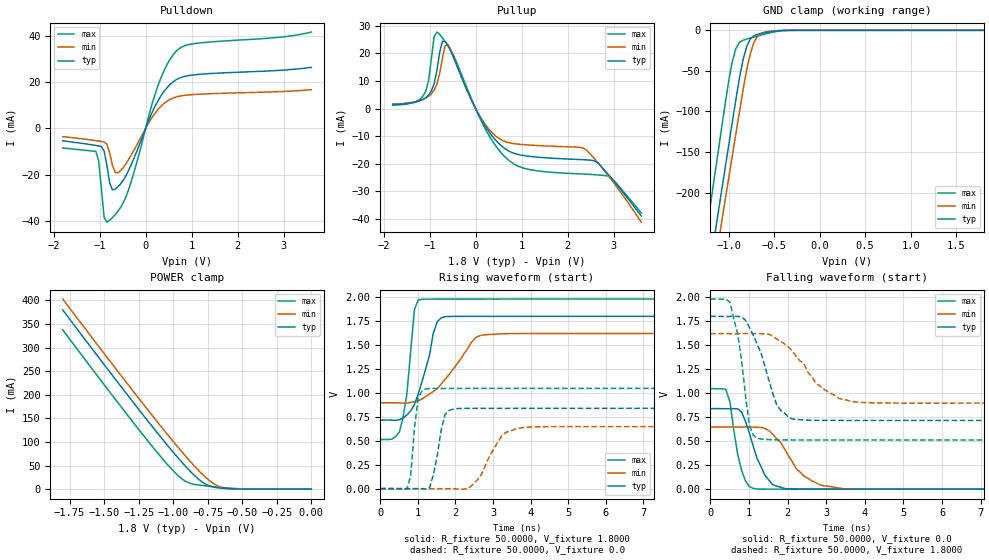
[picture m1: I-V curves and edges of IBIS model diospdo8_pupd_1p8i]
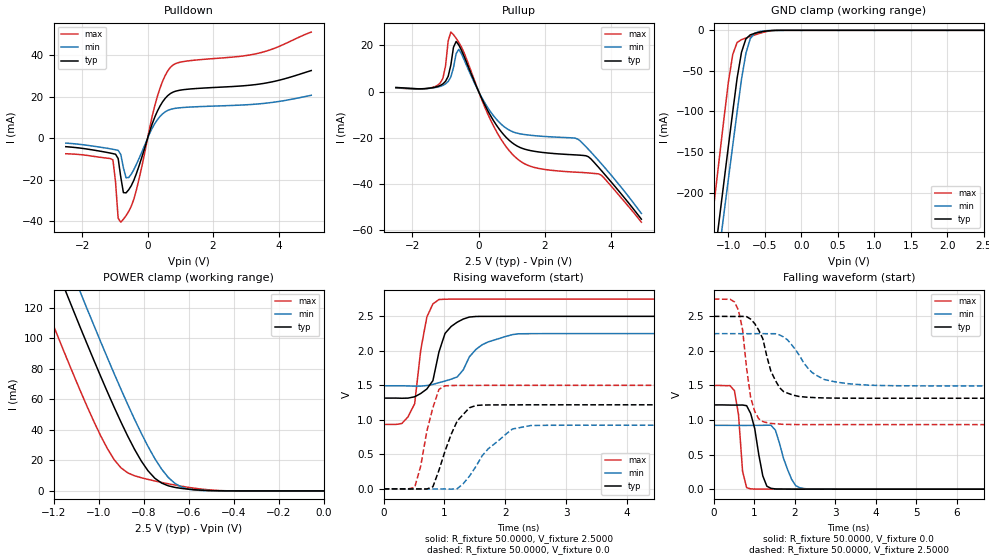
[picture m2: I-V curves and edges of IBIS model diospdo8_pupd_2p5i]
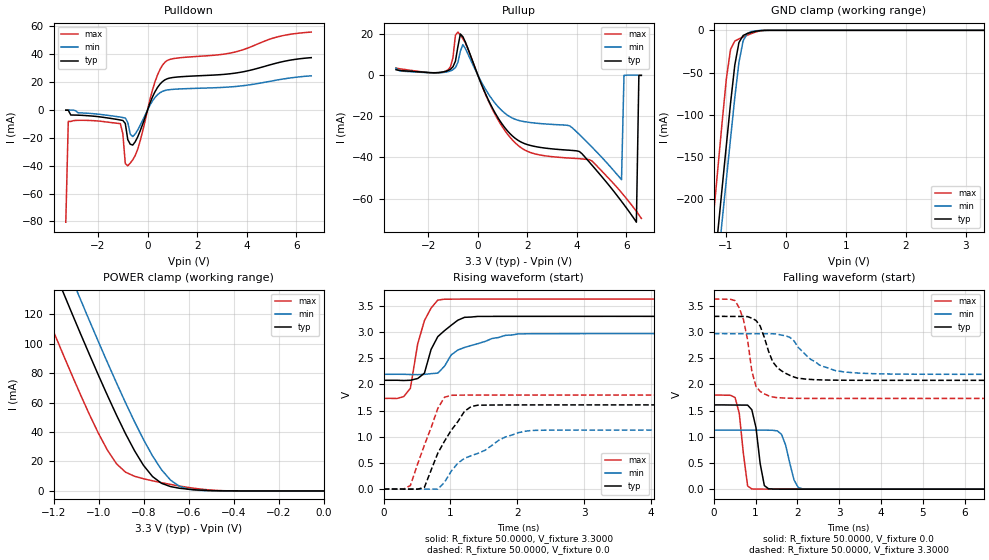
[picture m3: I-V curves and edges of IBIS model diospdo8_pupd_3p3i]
| SMSC
| 80 Arkay Drive
| Hauppauge,NY 11788
[IBIS Ver]   4.0
[Comment char]  |_char
[File name]   usb3320_rev2p0.ibs
[File Rev]   2.0
[Date]   10-DEC-2009
[Source]
[Notes] created by SMSC
[Disclaimer]
 SMSC herby grants
 the user of this IBIS model a non-exclusive,
 nontransferrable license to use this IBIS model
 under the following terms. Before using this
 IBIS model, the user should read this license.
 If the user does not accept these terms. the
 IBIS model should be returned to SMSC within 30
 days.
 The user is granted this license only to use
 the IBIS model and is not granted rights to
 sell, load, rent, lease or license the IBIS
 model in whole or in part, or in modified form
 to anyone other than user. User may modify the
 IBIS model to suit its specific applications
 but rights to derivative works and such
 modifications shall belong to SMSC.
 The IBIS model is provided on an "AS IS" basis
 and SMSC makes no warranty with respect to the
 information contained herein. SMSC DISCLAIMS
 AND CUSTOMER WAIVES ALL WARRANTIES, EXPRESS OR
 IMPLIED, INCLUDING WARRANTIES OF MERCHANTABILITY
 OR FITNESS FOR A PARTICULAR PURPOSE. The entire
 risk as to quality and performance is with the
 Customer. ACCORDINGLY, IN NO EVENT SHALL THE
 COMPANY BE LIABLE FOR ANY DAMAGE, WHETHER IN
 CONTRACT OR TORT, INCLUDING ANY LOST PROFITS
 OR OTHER INCIDENTAL, CONSEQUENTIAL, EXEMPLARY,
 OR PUNITIVE DAMAGES ARISING OUT OF THE USE OR
 APPLICATION OF THE IBIS model provided in this
 package. Further, SMSC reserves the right to
 make changes without notice to any product
 herein to improve reliability, function, or
 design. SMSC does not convey any license under
 patent rights or any other intellectual
 property rights, including those of third
 parties.
 SMSC is not obligated to provide maintaince
 or support for the licensed IBIS model.
[Copyright] (C) Copyright 2009, Standard Microsystems Corporation,
   All Rights Reserved
[Component] usb3320
[Manufacturer] SMSC
| ----Package----
[Package]
| variable   typ   min   max
R_pkg   54.0m   45.0m   63.0m
L_pkg   1.03nH   0.92nH   1.15nH
C_pkg   0.25pF   0.24pF   0.26pF
| ----Pin----
[Pin] signal_name   model_name   R_pin   L_pin   C_pin
P1   CLKOUT   io8_vo
P2   NXT   io8_vo
P3   DATA0   io8_vo
P4   DATA1   io8_vo
P5   DATA2   io8_vo
P6   DATA3   io8_vo
P7   DATA4   io8_vo
P8   REFSEL0   NC
P9   DATA5   io8_vo
P10   DATA6   io8_vo
P11   REFSEL1   NC
P12   NC   NC
P13   DATA7   io8_vo
P14   REFSEL2   NC
P15   SPKR_L   NC
P16   SPKR_R   NC
P17   CPEN   NC
P18   DP   NC
P19   DM   NC
P20   VDD33   POWER
P21   VBAT   POWER
P22   VBUS   NC
P23   ID   NC
P24   RBIAS   NC
P25   XO   NC
P26   REFCLK   io8_vo
P27   RESETB   io8_vo
P28   VDD18   POWER
P29   STP   io8_vo
P30   VDD18   POWER
P31   DIR   io8_vo
P32   VDDIO   POWER
P33   GND   GND
| ----PinMap----
[Pin Mapping] pulldown_ref pullup_ref gnd_clamp_ref power_clamp_ref
P1   GND   VDDIO   GND   VDDIO
P2   GND   VDDIO   GND   VDDIO
P3   GND   VDDIO   GND   VDDIO
P4   GND   VDDIO   GND   VDDIO
P5   GND   VDDIO   GND   VDDIO
P6   GND   VDDIO   GND   VDDIO
P7   GND   VDDIO   GND   VDDIO
P8   NC   NC   NC   NC
P9   GND   VDDIO   GND   VDDIO
P10   GND   VDDIO   GND   VDDIO
P11   NC   NC   NC   NC
P12   NC   NC   NC   NC
P13   GND   VDDIO   GND   VDDIO
P14   NC   NC   NC   NC
P15   NC   NC   NC   NC
P16   NC   NC   NC   NC
P17   NC   NC   NC   NC
P18   NC   NC   NC   NC
P19   NC   NC   NC   NC
P20   NC   VDD33   NC   NC
P21   NC   VDD50   NC   NC
P22   NC   NC   NC   NC
P23   NC   NC   NC   NC
P24   NC   NC   NC   NC
P25   NC   NC   NC   NC
P26   GND   VDDIO   GND   VDDIO
P27   GND   VDDIO   GND   VDDIO
P28   NC   VDDIO   NC   NC
P29   GND   VDDIO   GND   VDDIO
P30   NC   VDDIO   NC   NC
P31   GND   VDDIO   GND   VDDIO
P32   NC   VDD33   NC   NC
P33   GND   NC   NC   NC
[Model Selector] io8_vo
diospdo8_pupd_1p8i  1.8V industrial temp I/O model
diospdo8_pupd_2p5i  2.5V industrial temp I/O model
diospdo8_pupd_3p3i  3.3V industrial temp I/O model
[Model Selector] io8_vo_cpen
diospdo8_pupd_3p3i  3.3V industrial temp I/O model
| Models and submodels in the file (3): diospdo8_pupd_1p8i (I/O), diospdo8_pupd_2p5i (I/O), diospdo8_pupd_3p3i (I/O)
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| ----Modeling----
[Model]  diospdo8_pupd_1p8i
Model_type I/O
Polarity   Non-Inverting
Enable   Active-Low
Vinl =   0.0V
Vinh =   1.8000V
Vmeas =  1.6500V
Vref =   0.0V
C_comp   1.3400pF   1.2300pF   1.3500pF
[Temperature Range]   42.0000   85.0000   -40.0000
[Voltage Range]   1.8000V   1.6200V   1.9800V
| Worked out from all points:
|   slope of the pulldown table from 0 to 0.27 V, typ, clamps not added: 22.5 ohm
|   slope of the pullup table from 0 to 0.27 V, typ, clamps not added: 34.3 ohm
|   GND clamp passes 1 mA (typ) near -0.49 V on its own axis
|   POWER clamp passes 1 mA (typ) near -0.59 V on its own axis
|   rising waveform, R_fixture 50.0000, V_fixture 1.8000: 20-80 % time 435ps typ, 840ps min, 235ps max; typ from 0.716 V to 1.8 V
|   rising waveform, R_fixture 50.0000, V_fixture 0.0: 20-80 % time 234ps typ, 525ps min, 149ps max; typ from 0 V to 0.839 V
|   falling waveform, R_fixture 50.0000, V_fixture 0.0: 20-80 % time 448ps typ, 718ps min, 269ps max; typ from 0.839 V to 0 V
|   falling waveform, R_fixture 50.0000, V_fixture 1.8000: 20-80 % time 537ps typ, 902ps min, 302ps max; typ from 1.8 V to 0.716 V
[Pulldown]
|Voltage   I(typ)   I(min)   I(max)
-1.8V     -5.347mA   -3.523mA   -8.392mA
-1.08V    -7.359mA   -5.279mA   -9.934mA
-1.02V    -7.568mA   -5.462mA   -14.06mA
-900mV    -9.786mA   -5.859mA   -38.52mA
-840mV    -15.99mA   -6.785mA   -40.62mA
-780mV    -23.64mA   -10.64mA   -39.78mA
-720mV    -26.58mA   -15.93mA   -38.62mA
-600mV    -25.28mA   -19.19mA   -35.84mA
-360mV    -17.79mA   -13.16mA   -25.99mA
300mV     13.04mA    8.927mA    20.2mA
660mV     21.07mA    13.66mA    33.41mA
3.6V      26.49mA    16.82mA    41.78mA
[Pullup]
|Voltage   I(typ)   I(min)   I(max)
-1.8V     1.426mA    1.627mA    1.223mA
-1.14V    3.335mA    3.3mA      4.552mA
-1.02V    4.911mA    4.385mA    10.3mA
-900mV    8.996mA    6.676mA    25.97mA
-840mV    13.72mA    8.899mA    27.7mA
-720mV    24.42mA    18.29mA    25.62mA
-600mV    22.75mA    23.24mA    22.81mA
60mV      -1.973mA   -1.822mA   -2.256mA
660mV     -14.78mA   -12.09mA   -17.87mA
2.34V     -18.55mA   -14.36mA   -23.73mA
2.94V     -25.05mA   -25.56mA   -25mA
3.6V      -38.96mA   -41.18mA   -37.88mA
[GND_clamp]
|Voltage   I(typ)   I(min)   I(max)
-1.8V     -730.5mA   -753.9mA   -685.9mA
-1.24V    -317.2mA   -352.6mA   -247.3mA
-1.16V    -258.8mA   -295.9mA   -185.3mA
-1.12V    -229.7mA   -267.7mA   -154.5mA
-1.08V    -200.7mA   -239.5mA   -123.7mA
-960mV    -114.4mA   -155.6mA   -39.29mA
-920mV    -85.97mA   -128mA     -22.51mA
-840mV    -36.12mA   -73.2mA    -12.26mA
-800mV    -19.72mA   -48.38mA   -10.77mA
-720mV    -6.614mA   -14.66mA   -8.222mA
-600mV    -2.853mA   -2.09mA    -4.575mA
1.8V      2.491nA    19.22nA    237.9pA
[POWER_clamp]
|Voltage   I(typ)   I(min)   I(max)
-1.8V     379.8mA    403mA      337.7mA
-1.44V    241.2mA    264.6mA    198.5mA
-1.18V    143.3mA    166.7mA    100.9mA
-1.02V    85.38mA    108.3mA    45.26mA
-960mV    64.68mA    87.06mA    27.55mA
-920mV    51.44mA    73.28mA    18.4mA
-860mV    32.93mA    53.36mA    11.1mA
-780mV    13.18mA    29.16mA    7.555mA
-700mV    3.85mA     10.51mA    4.989mA
-640mV    1.822mA    3.114mA    3.317mA
-520mV    322.6uA    156.4uA    841.8uA
0V        2.491nA    2.648nA    260.7pA
[Ramp]
| variable   typ   min   max
dV/dt_r  0.5034/0.2225n   0.3889/0.5312n   0.6281/0.1236n
dV/dt_f  0.6504/0.5138n   0.4342/0.9193n   0.8805/0.2955n
R_load = 50.0000
[Rising Waveform]
R_fixture= 50.0000
V_fixture= 1.8000
V_fixture_min= 1.6200
V_fixture_max= 1.9800
|time   V(typ)   V(min)   V(max)
0s        716.2mV    896.4mV    512.7mV
510ps     720.2mV    895.1mV    592mV
710ps     770.5mV    893.3mV    993.1mV
910ps     880.4mV    909.3mV    1.873V
1.01ns    988.4mV    918.5mV    1.97V
1.31ns    1.393V     989mV      1.979V
1.41ns    1.621V     1.014V     1.979V
1.72ns    1.796V     1.14V      1.98V
2.73ns    1.8V       1.605V     1.98V
10ns      1.8V       1.62V      1.98V
[Rising Waveform]
R_fixture= 50.0000
V_fixture= 0.0
V_fixture_min= 0.0
V_fixture_max= 0.0
|time   V(typ)   V(min)   V(max)
0s        130.2uV    81.27uV    305.5uV
710ps     -574.6uV   -84.96uV   -3.686mV
810ps     -575.5uV   -255.4uV   139mV
1.01ns    -380.8uV   -368.8uV   957.1mV
1.21ns    -4.665mV   -389.7uV   1.041V
1.41ns    141mV      -390.5uV   1.046V
1.72ns    770.6mV    -325.1uV   1.046V
1.92ns    828.4mV    -529.4uV   1.047V
3.64ns    839mV      630.7mV    1.047V
10ns      839.1mV    648.1mV    1.047V
[Falling Waveform]
R_fixture= 50.0000
V_fixture= 0.0
V_fixture_min= 0.0
V_fixture_max= 0.0
|time   V(typ)   V(min)   V(max)
0s        838.9mV    648.1mV    1.047V
400ps     837.6mV    647.9mV    1.042V
510ps     837.7mV    647.8mV    906mV
710ps     837mV      647.7mV    363.9mV
810ps     802.9mV    647.6mV    195.6mV
1.11ns    450.4mV    646.5mV    8.507mV
1.62ns    45.9mV     571.7mV    203.8uV
2.22ns    1.089mV    216.2mV    26.69uV
2.93ns    95.5uV     34.8mV     3.439uV
10ns      1.395uV    -562.5nV   -1.268uV
[Falling Waveform]
R_fixture= 50.0000
V_fixture= 1.8000
V_fixture_min= 1.6200
V_fixture_max= 1.9800
|time   V(typ)   V(min)   V(max)
0s        1.8V       1.62V      1.98V
510ps     1.8V       1.62V      1.946V
710ps     1.8V       1.619V     1.614V
1.01ns    1.685V     1.62V      668.1mV
1.21ns    1.513V     1.62V      531.8mV
1.72ns    879.3mV    1.565V     514.1mV
2.12ns    731.8mV    1.441V     512.8mV
2.73ns    717.5mV    1.106V     512.5mV
3.64ns    716.1mV    914.8mV    512.4mV
10ns      716.1mV    896.3mV    512.4mV
[Model]  diospdo8_pupd_2p5i
Model_type I/O
Polarity   Non-Inverting
Enable   Active-Low
Vinl =   0.0V
Vinh =   2.5000V
Vmeas =  1.6500V
Vref =   0.0V
C_comp   1.3400pF   1.2300pF   1.3500pF
[Temperature Range]   42.0000   85.0000   -40.0000
[Voltage Range]   2.5000V   2.2500V   2.7500V
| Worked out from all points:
|   slope of the pulldown table from 0 to 0.375 V, typ, clamps not added: 24.4 ohm
|   slope of the pullup table from 0 to 0.375 V, typ, clamps not added: 34.7 ohm
|   GND clamp passes 1 mA (typ) near -0.49 V on its own axis
|   POWER clamp passes 1 mA (typ) near -0.59 V on its own axis
|   rising waveform, R_fixture 50.0000, V_fixture 2.5000: 20-80 % time 223ps typ, 414ps min, 171ps max; typ from 1.32 V to 2.5 V
|   rising waveform, R_fixture 50.0000, V_fixture 0.0: 20-80 % time 307ps typ, 529ps min, 219ps max; typ from 0 V to 1.22 V
|   falling waveform, R_fixture 50.0000, V_fixture 0.0: 20-80 % time 228ps typ, 309ps min, 130ps max; typ from 1.22 V to 0 V
|   falling waveform, R_fixture 50.0000, V_fixture 2.5000: 20-80 % time 401ps typ, 632ps min, 242ps max; typ from 2.5 V to 1.31 V
[Pulldown]
|Voltage   I(typ)   I(min)   I(max)
-2.5V     -4.085mA   -2.368mA   -7.486mA
-1.06V    -7.427mA   -5.34mA    -10.41mA
-980mV    -7.712mA   -5.589mA   -21.08mA
-900mV    -9.79mA    -5.859mA   -38.52mA
-820mV    -18.7mA    -7.836mA   -40.42mA
-740mV    -26.17mA   -14.2mA    -39.02mA
-580mV    -24.86mA   -18.95mA   -35.3mA
-340mV    -16.91mA   -12.48mA   -24.77mA
300mV     13.04mA    8.927mA    20.2mA
700mV     21.52mA    13.87mA    34.17mA
3.42V     26.05mA    16.54mA    41.01mA
5V        32.54mA    20.64mA    51.05mA
[Pullup]
|Voltage   I(typ)   I(min)   I(max)
-2.5V     1.764mA    1.49mA     1.584mA
-1.16V    2.597mA    2.223mA    3.686mA
-1V       4.407mA    3.31mA     11.07mA
-920mV    6.584mA    4.354mA    21.89mA
-840mV    11.41mA    6.31mA     25.69mA
-760mV    19.14mA    10.32mA    24.57mA
-600mV    20.13mA    18.24mA    21.26mA
280mV     -8.351mA   -7.058mA   -9.793mA
1.08V     -22.84mA   -17.66mA   -27.98mA
3V        -27.47mA   -20.59mA   -34.92mA
3.72V     -34.32mA   -31.36mA   -36.3mA
4.92V     -55.18mA   -52.7mA    -56.5mA
[GND_clamp]
|Voltage   I(typ)   I(min)   I(max)
-2.5V     -1.252A    -1.259A    -1.239A
-1.24V    -317.2mA   -352.6mA   -247.3mA
-1.12V    -229.7mA   -267.7mA   -154.5mA
-1.06V    -186.2mA   -225.4mA   -108.4mA
-1V       -143mA     -183.5mA   -63.9mA
-940mV    -100.2mA   -141.8mA   -29.71mA
-880mV    -58.85mA   -100.5mA   -14.93mA
-820mV    -27.01mA   -60.3mA    -11.47mA
-760mV    -10.58mA   -28.41mA   -9.479mA
-700mV    -5.581mA   -10.2mA    -7.599mA
-400mV    -226.3uA   -95.62uA   -378.3uA
2.5V      2.542nA    132.1nA    264.5pA
[POWER_clamp]
|Voltage   I(typ)   I(min)   I(max)
-2.5V     651.3mA    673.1mA    611.3mA
-1.26V    173.1mA    196.5mA    130.5mA
-1.23V    161.9mA    185.3mA    119.3mA
-1.14V    128.6mA    151.9mA    86.43mA
-1.08V    106.7mA    129.9mA    65.28mA
-960mV    64.68mA    87.06mA    27.55mA
-900mV    45.05mA    66.52mA    15.11mA
-780mV    13.19mA    29.16mA    7.555mA
-720mV    5.176mA    14.37mA    5.595mA
-660mV    2.302mA    4.88mA     3.848mA
-540mV    463.8uA    259.1uA    1.151mA
0V        2.542nA    2.692nA    295.9pA
[Ramp]
| variable   typ   min   max
dV/dt_r  0.7312/0.3259n   0.5541/0.4944n   0.9004/0.1895n
dV/dt_f  0.7108/0.3614n   0.4538/0.6353n   1.0896/0.2370n
R_load = 50.0000
[Rising Waveform]
R_fixture= 50.0000
V_fixture= 2.5000
V_fixture_min= 2.2500
V_fixture_max= 2.7500
|time   V(typ)   V(min)   V(max)
0s        1.315V     1.494V     934.3mV
300ps     1.313V     1.494V     948.6mV
510ps     1.335V     1.489V     1.234V
610ps     1.382V     1.49V      2.011V
710ps     1.447V     1.498V     2.489V
910ps     1.986V     1.539V     2.744V
1.31ns    2.461V     1.726V     2.749V
1.62ns    2.499V     2.088V     2.75V
2.22ns    2.5V       2.247V     2.75V
10ns      2.5V       2.25V      2.75V
[Rising Waveform]
R_fixture= 50.0000
V_fixture= 0.0
V_fixture_min= 0.0
V_fixture_max= 0.0
|time   V(typ)   V(min)   V(max)
0s        180.2uV    112.7uV    411.8uV
510ps     -354.6uV   175.3uV    21.63mV
810ps     32.05mV    -297.2uV   1.179V
910ps     272.1mV    -145.7uV   1.443V
1.01ns    549.6mV    -5.617uV   1.493V
1.21ns    985mV      3.273mV    1.499V
1.41ns    1.175V     183.6mV    1.5V
2.02ns    1.218V     800.3mV    1.5V
2.42ns    1.218V     918.5mV    1.501V
10ns      1.219V     923.5mV    1.501V
[Falling Waveform]
R_fixture= 50.0000
V_fixture= 0.0
V_fixture_min= 0.0
V_fixture_max= 0.0
|time   V(typ)   V(min)   V(max)
0s        1.218V     923.4mV    1.5V
510ps     1.216V     922.8mV    1.425V
610ps     1.217V     922.4mV    1.08V
710ps     1.217V     922.2mV    260mV
910ps     1.095V     922.3mV    3.874mV
1.21ns    190.6mV    923.7mV    699.7uV
1.41ns    12.26mV    925.1mV    330uV
1.92ns    555.8uV    143mV      57.12uV
2.22ns    232.9uV    9.511mV    42.14uV
10ns      1.101uV    979.5nV    6.079uV
[Falling Waveform]
R_fixture= 50.0000
V_fixture= 2.5000
V_fixture_min= 2.2500
V_fixture_max= 2.7500
|time   V(typ)   V(min)   V(max)
0s        2.5V       2.25V      2.75V
610ps     2.499V     2.249V     2.587V
710ps     2.499V     2.249V     2.308V
910ps     2.46V      2.249V     1.324V
1.21ns    2.176V     2.25V      978.2mV
1.62ns    1.47V      2.232V     942.3mV
2.12ns    1.339V     1.927V     934.6mV
2.53ns    1.323V     1.648V     934.1mV
3.33ns    1.316V     1.525V     934mV
10ns      1.315V     1.494V     934mV
[Model]  diospdo8_pupd_3p3i
Model_type I/O
Polarity   Non-Inverting
Enable   Active-Low
Vinl =   0.0V
Vinh =   3.3000V
Vmeas =  1.6500V
Vref =   0.0V
C_comp   1.3400pF   1.2300pF   1.3500pF
[Temperature Range]   42.0000   85.0000   -40.0000
[Voltage Range]   3.3000V   2.9700V   3.6300V
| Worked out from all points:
|   slope of the pulldown table from 0 to 0.495 V, typ, clamps not added: 27 ohm
|   slope of the pullup table from 0 to 0.495 V, typ, clamps not added: 35.9 ohm
|   GND clamp passes 1 mA (typ) near -0.49 V on its own axis
|   POWER clamp passes 1 mA (typ) near -0.59 V on its own axis
|   rising waveform, R_fixture 50.0000, V_fixture 3.3000: 20-80 % time 305ps typ, 591ps min, 200ps max; typ from 2.08 V to 3.3 V
|   rising waveform, R_fixture 50.0000, V_fixture 0.0: 20-80 % time 411ps typ, 735ps min, 305ps max; typ from 0 V to 1.61 V
|   falling waveform, R_fixture 50.0000, V_fixture 0.0: 20-80 % time 172ps typ, 215ps min, 149ps max; typ from 1.61 V to 0 V
|   falling waveform, R_fixture 50.0000, V_fixture 3.3000: 20-80 % time 381ps typ, 667ps min, 254ps max; typ from 3.3 V to 2.08 V
[Pulldown]
|Voltage   I(typ)   I(min)   I(max)
-3.3V     -264.9uA   -136.5uA   -80.56mA
-3.2V     -274.8uA   -136uA     -8.296mA
-1.1V     -7.292mA   -5.223mA   -9.887mA
-1V       -7.64mA    -5.524mA   -17.11mA
-900mV    -9.783mA   -5.859mA   -38.52mA
-800mV    -21.37mA   -9.116mA   -40.12mA
-700mV    -24.66mA   -17.38mA   -38.2mA
-600mV    -25.28mA   -19.19mA   -35.84mA
-300mV    -15.1mA    -11.09mA   -22.2mA
300mV     13.04mA    8.927mA    20.2mA
700mV     21.52mA    13.87mA    34.17mA
6.6V      37.41mA    24.38mA    55.73mA
[Pullup]
|Voltage   I(typ)   I(min)   I(max)
-3.3V     2.511mA    3.265mA    3.366mA
-1.1V     2.719mA    1.899mA    3.888mA
-900mV    6.611mA    3.574mA    19.18mA
-700mV    19.79mA    11.54mA    19.24mA
600mV     -16.24mA   -12.17mA   -16.86mA
1.5V      -30.62mA   -21.47mA   -32.79mA
4.1V      -37.14mA   -28.89mA   -40.6mA
5.8V      -61.28mA   -50.79mA   -57.04mA
5.9V      -62.88mA   -259.2uA   -58.48mA
6.4V      -71.36mA   -137.1uA   -66.13mA
6.5V      -276uA     -137.3uA   -67.78mA
6.6V      -265.2uA   -137.3uA   -69.51mA
[GND_clamp]
|Voltage   I(typ)   I(min)   I(max)
-3.3V     -1.848A    -1.838A    -1.873A
-1.27V    -339.2mA   -374mA     -270.6mA
-1.2V     -287.9mA   -324.3mA   -216.2mA
-1.13V    -236.9mA   -274.7mA   -162.2mA
-1.06V    -186.2mA   -225.4mA   -108.4mA
-990mV    -135.9mA   -176.5mA   -57.21mA
-920mV    -85.97mA   -128mA     -22.51mA
-850mV    -41.29mA   -79.96mA   -12.74mA
-780mV    -14.3mA    -37.71mA   -10.12mA
-710mV    -6.05mA    -12.24mA   -7.91mA
-430mV    -400.2uA   -174.7uA   -692.2uA
3.3V      2.6nA      1.195uA    294.6pA
[POWER_clamp]
|Voltage   I(typ)   I(min)   I(max)
-3.28V    954mA      982.4mA    917.2mA
-1.28V    180.6mA    204mA      137.9mA
-1.24V    165.6mA    189mA      123mA
-1.16V    135.9mA    159.3mA    93.64mA
-1.08V    106.7mA    129.9mA    65.27mA
-1V       78.39mA    101.1mA    39mA
-920mV    51.43mA    73.28mA    18.41mA
-800mV    17.33mA    34.84mA    8.271mA
-760mV    9.761mA    23.8mA     6.876mA
-680mV    2.943mA    7.336mA    4.406mA
-560mV    642.9uA    429.1uA    1.507mA
0V        2.6nA      2.74nA     336.2pA
[Ramp]
| variable   typ   min   max
dV/dt_r  0.9653/0.4059n   0.6770/0.7520n   1.0784/0.2890n
dV/dt_f  0.7330/0.3830n   0.4660/0.6349n   1.1386/0.2349n
R_load = 50.0000
[Rising Waveform]
R_fixture= 50.0000
V_fixture= 3.3000
V_fixture_min= 2.9700
V_fixture_max= 3.6300
|time   V(typ)   V(min)   V(max)
0s        2.079V     2.193V     1.733V
300ps     2.074V     2.193V     1.767V
400ps     2.079V     2.189V     1.927V
510ps     2.113V     2.187V     2.776V
610ps     2.214V     2.192V     3.218V
710ps     2.669V     2.205V     3.459V
810ps     2.912V     2.216V     3.61V
1.11ns    3.226V     2.656V     3.629V
2.02ns    3.3V       2.965V     3.63V
10ns      3.3V       2.97V      3.63V
[Rising Waveform]
R_fixture= 50.0000
V_fixture= 0.0
V_fixture_min= 0.0
V_fixture_max= 0.0
|time   V(typ)   V(min)   V(max)
0s        237.8uV    148.3uV    612.7uV
400ps     186uV      490uV      68.95mV
610ps     34.48mV    137.2uV    841.5mV
810ps     685.5mV    113.1uV    1.54V
910ps     915mV      129.5mV    1.754V
1.01ns    1.121V     340.1mV    1.792V
1.31ns    1.577V     638.5mV    1.796V
1.82ns    1.607V     995.7mV    1.797V
2.22ns    1.608V     1.122V     1.797V
10ns      1.609V     1.128V     1.797V
[Falling Waveform]
R_fixture= 50.0000
V_fixture= 0.0
V_fixture_min= 0.0
V_fixture_max= 0.0
|time   V(typ)   V(min)   V(max)
0s        1.609V     1.128V     1.797V
510ps     1.607V     1.128V     1.749V
610ps     1.606V     1.127V     1.449V
810ps     1.605V     1.127V     60.95mV
910ps     1.516V     1.127V     4.079mV
1.21ns    68.55mV    1.127V     673.8uV
1.31ns    7.73mV     1.126V     442.3uV
1.62ns    1.307mV    1.048V     201.6uV
2.12ns    292.5uV    7.223mV    48.14uV
10ns      -6.275uV   -1.138uV   4.38uV
[Falling Waveform]
R_fixture= 50.0000
V_fixture= 3.3000
V_fixture_min= 2.9700
V_fixture_max= 3.6300
|time   V(typ)   V(min)   V(max)
0s        3.3V       2.97V      3.63V
510ps     3.298V     2.97V      3.6V
710ps     3.298V     2.969V     3.239V
910ps     3.265V     2.969V     2.257V
1.01ns    3.223V     2.969V     1.961V
1.41ns    2.433V     2.968V     1.761V
2.02ns    2.116V     2.707V     1.734V
2.53ns    2.088V     2.37V      1.733V
3.13ns    2.08V      2.237V     1.732V
10ns      2.078V     2.193V     1.732V
